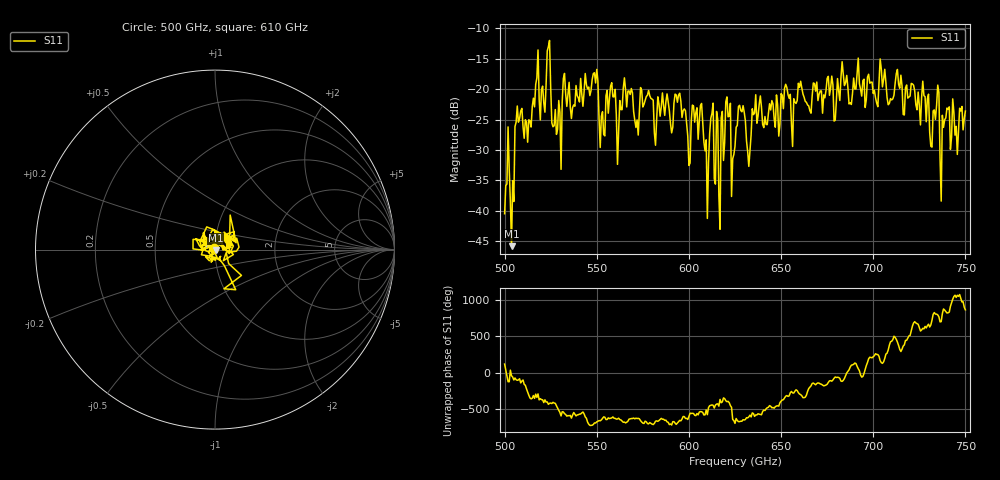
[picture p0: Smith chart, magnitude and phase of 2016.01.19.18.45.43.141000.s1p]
!Created with skrf (http://scikit-rf.org).
# GHz S RI R 50.0
!freq ReS11 ImS11
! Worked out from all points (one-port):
!   401 points, 500 GHz to 750 GHz, reference 50 ohm
!   lowest |S11| = -45.8 dB at 503.8 GHz (marker M1), VSWR 1.01, Z = 50.4 - j0.362 ohm
!   |S11| at or under -10 dB: start of sweep to end of sweep
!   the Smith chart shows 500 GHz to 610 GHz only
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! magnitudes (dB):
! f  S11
! 500 GHz  -40.5
! 503.8 GHz  -45.8
! 506.9 GHz  -22.8
! 516.9 GHz  -19.2
! 523.8 GHz  -13.0
! 526.9 GHz  -26.0
! 531.2 GHz  -22.1
! 549.4 GHz  -19.0
! 553.1 GHz  -23.7
! 558.8 GHz  -21.2
! 562.5 GHz  -21.9
! 593.8 GHz  -22.1
! 600 GHz  -32.5
! 606.9 GHz  -22.3
! 609.4 GHz  -28.3
! 611.9 GHz  -24.8
! 617.5 GHz  -24.7
! 621.2 GHz  -24.5
! 625 GHz  -29.4
! 628.1 GHz  -23.5
! 632.5 GHz  -32.7
! 637.5 GHz  -24.4
! 656.2 GHz  -29.4
! 687.5 GHz  -22.2
! 718.8 GHz  -21.5
! 734.4 GHz  -22.6
! 737.5 GHz  -24.3
! 750 GHz  -23.6
